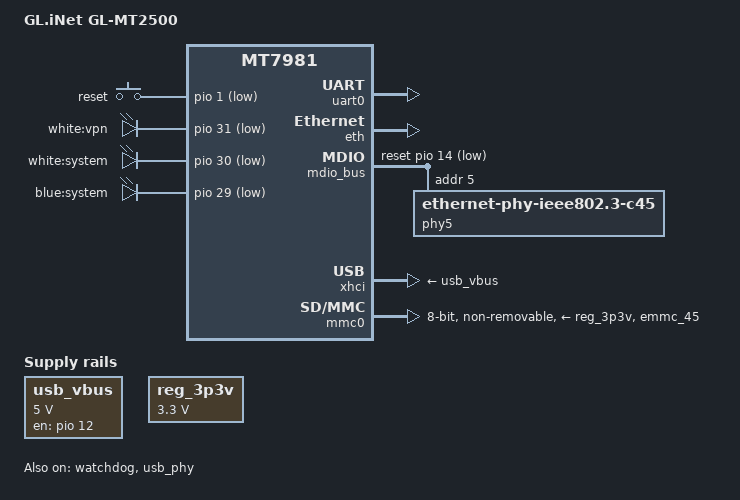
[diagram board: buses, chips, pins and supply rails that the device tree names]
// SPDX-License-Identifier: (GPL-2.0 OR MIT)

/dts-v1/;
#include "mt7981.dtsi"

/ {
	model = "GL.iNet GL-MT2500";
	compatible = "glinet,gl-mt2500", "mediatek,mt7981";

	aliases {
		label-mac-device = &gmac0;
		led-boot = &led_sys_white;
		led-failsafe = &led_sys_blue;
		led-running = &led_sys_white;
		led-upgrade = &led_sys_blue;
		serial0 = &uart0;
	};

	chosen {
		stdout-path = "serial0:115200n8";
		bootargs-append = " root=PARTLABEL=rootfs rootwait";
	};

	gpio-keys {
		compatible = "gpio-keys";

		reset {
			label = "reset";
			linux,code = <KEY_RESTART>;
			gpios = <&pio 1 GPIO_ACTIVE_LOW>;
		};
	};

	leds {
		compatible = "gpio-leds";

		led-vpn {
			label = "white:vpn";
			gpios = <&pio 31 GPIO_ACTIVE_LOW>;
		};

		led_sys_white: led-system-white {
			label = "white:system";
			gpios = <&pio 30 GPIO_ACTIVE_LOW>;
		};

		led_sys_blue: led-system-blue {
			label = "blue:system";
			gpios = <&pio 29 GPIO_ACTIVE_LOW>;
		};
	};

	usb_vbus: regulstor-usb {
		compatible = "regulator-fixed";

		regulator-name = "usb-vbus";
		regulator-min-microvolt = <5000000>;
		regulator-max-microvolt = <5000000>;

		gpio = <&pio 12 GPIO_ACTIVE_HIGH>;
		enable-active-high;
		regulator-boot-on;
	};

	reg_3p3v: regulator-3p3v {
		compatible = "regulator-fixed";
		regulator-name = "fixed-3.3V";
		regulator-min-microvolt = <3300000>;
		regulator-max-microvolt = <3300000>;
		regulator-boot-on;
		regulator-always-on;
	};
};

&pio {
	mmc0_pins_default: mmc0-pins-default {
		mux {
			function = "flash";
			groups = "emmc_45";
		};
	};
	mmc0_pins_uhs: mmc0-pins-uhs {
		mux {
			function = "flash";
			groups = "emmc_45";
		};
	};
};

&uart0 {
	status = "okay";
};

&watchdog {
	status = "okay";
};

&eth {
	status = "okay";

	pinctrl-names = "default";
	pinctrl-0 = <&mdio_pins>;

	gmac0: mac@0 {
		compatible = "mediatek,eth-mac";
		reg = <0>;

		phy-mode = "2500base-x";
		phy-handle = <&phy5>;
	};

	gmac1: mac@1 {
		compatible = "mediatek,eth-mac";
		reg = <1>;
		phy-mode = "gmii";
		phy-handle = <&int_gbe_phy>;
	};
};

&mdio_bus {
	reset-gpios = <&pio 14 GPIO_ACTIVE_LOW>;
	reset-delay-us = <600>;
	reset-post-delay-us = <20000>;

	phy5: ethernet-phy@5 {
		reg = <5>;
		compatible = "ethernet-phy-ieee802.3-c45";
	};
};

&usb_phy {
	status = "okay";
};

&xhci {
	status = "okay";
	vbus-supply = <&usb_vbus>;
};

&mmc0 {
	status = "okay";

	pinctrl-names = "default", "state_uhs";
	pinctrl-0 = <&mmc0_pins_default>;
	pinctrl-1 = <&mmc0_pins_uhs>;
	bus-width = <8>;
	max-frequency = <52000000>;
	vmmc-supply = <&reg_3p3v>;
	cap-mmc-highspeed;
	non-removable;
};
